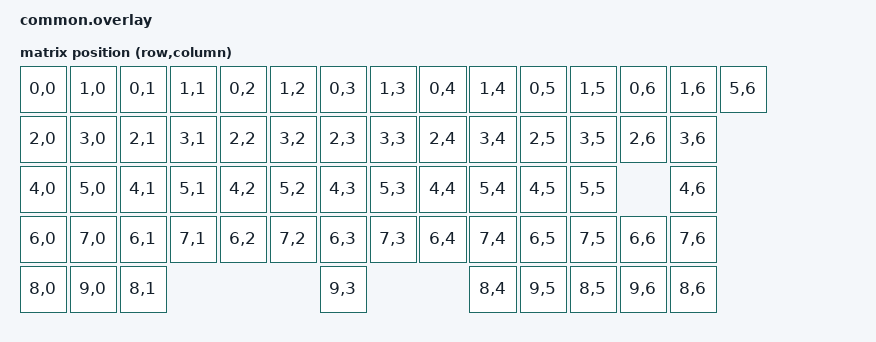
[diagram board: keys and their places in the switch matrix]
/ {

    matrix_transform_all: matrix_transform_all {
        compatible = "zmk,matrix-transform";
        columns = <7>;
        rows = <10>;
        map = <
            RC(0,0) RC(1,0) RC(0,1) RC(1,1) RC(0,2) RC(1,2) RC(0,3) RC(1,3) RC(0,4) RC(1,4) RC(0,5) RC(1,5) RC(0,6) RC(1,6) RC(5,6)
            RC(2,0) RC(3,0) RC(2,1) RC(3,1) RC(2,2) RC(3,2) RC(2,3) RC(3,3) RC(2,4) RC(3,4) RC(2,5) RC(3,5) RC(2,6) RC(3,6)
            RC(4,0) RC(5,0) RC(4,1) RC(5,1) RC(4,2) RC(5,2) RC(4,3) RC(5,3) RC(4,4) RC(5,4) RC(4,5) RC(5,5)         RC(4,6)
            RC(6,0) RC(7,0) RC(6,1) RC(7,1) RC(6,2) RC(7,2) RC(6,3) RC(7,3) RC(6,4) RC(7,4) RC(6,5) RC(7,5) RC(6,6) RC(7,6)
            RC(8,0) RC(9,0) RC(8,1)                         RC(9,3)                 RC(8,4) RC(9,5) RC(8,5) RC(9,6) RC(8,6)
        >;
    };

};

// Multi Layouts Defines
//                                           w   h    x    y     rot    rx    ry
#define ROW0_FIXED    <&key_physical_attrs 100 100    0    0       0     0     0> \
                    , <&key_physical_attrs 100 100  100    0       0     0     0> \
                    , <&key_physical_attrs 100 100  200    0       0     0     0> \
                    , <&key_physical_attrs 100 100  300    0       0     0     0> \
                    , <&key_physical_attrs 100 100  400    0       0     0     0> \
                    , <&key_physical_attrs 100 100  500    0       0     0     0> \
                    , <&key_physical_attrs 100 100  600    0       0     0     0> \
                    , <&key_physical_attrs 100 100  700    0       0     0     0> \
                    , <&key_physical_attrs 100 100  800    0       0     0     0> \
                    , <&key_physical_attrs 100 100  900    0       0     0     0> \
                    , <&key_physical_attrs 100 100 1000    0       0     0     0> \
                    , <&key_physical_attrs 100 100 1100    0       0     0     0> \
                    , <&key_physical_attrs 100 100 1200    0       0     0     0>

#define ROW0_BS_2U    <&key_physical_attrs 200 100 1300    0       0     0     0>

#define ROW0_BS_1U    <&key_physical_attrs 100 100 1300    0       0     0     0> \
                    , <&key_physical_attrs 100 100 1400    0       0     0     0>

#define ROW1_FIXED    <&key_physical_attrs 150 100    0  100       0     0     0> \
                    , <&key_physical_attrs 100 100  150  100       0     0     0> \
                    , <&key_physical_attrs 100 100  250  100       0     0     0> \
                    , <&key_physical_attrs 100 100  350  100       0     0     0> \
                    , <&key_physical_attrs 100 100  450  100       0     0     0> \
                    , <&key_physical_attrs 100 100  550  100       0     0     0> \
                    , <&key_physical_attrs 100 100  650  100       0     0     0> \
                    , <&key_physical_attrs 100 100  750  100       0     0     0> \
                    , <&key_physical_attrs 100 100  850  100       0     0     0> \
                    , <&key_physical_attrs 100 100  950  100       0     0     0> \
                    , <&key_physical_attrs 100 100 1050  100       0     0     0> \
                    , <&key_physical_attrs 100 100 1150  100       0     0     0> \
                    , <&key_physical_attrs 100 100 1250  100       0     0     0>

#define ROW1_ANSI     <&key_physical_attrs 150 100 1350  100       0     0     0>

#define ROW1_ISO      <&key_physical_attrs 125 200 1375  100       0     0     0>


#define ROW2_FIXED    <&key_physical_attrs 175 100    0  200       0     0     0> \
                    , <&key_physical_attrs 100 100  175  200       0     0     0> \
                    , <&key_physical_attrs 100 100  275  200       0     0     0> \
                    , <&key_physical_attrs 100 100  375  200       0     0     0> \
                    , <&key_physical_attrs 100 100  475  200       0     0     0> \
                    , <&key_physical_attrs 100 100  575  200       0     0     0> \
                    , <&key_physical_attrs 100 100  675  200       0     0     0> \
                    , <&key_physical_attrs 100 100  775  200       0     0     0> \
                    , <&key_physical_attrs 100 100  875  200       0     0     0> \
                    , <&key_physical_attrs 100 100  975  200       0     0     0> \
                    , <&key_physical_attrs 100 100 1075  200       0     0     0> \
                    , <&key_physical_attrs 100 100 1175  200       0     0     0>

#define ROW2_ANSI     <&key_physical_attrs 225 100 1275  200       0     0     0>

#define ROW2_ISO      <&key_physical_attrs 100 100 1275  200       0     0     0>

#define ROW3_ANSI     <&key_physical_attrs 225 100    0  300       0     0     0>

#define ROW3_ISO      <&key_physical_attrs 125 100    0  300       0     0     0> \
                    , <&key_physical_attrs 100 100  125  300       0     0     0>

#define ROW3_FIXED    <&key_physical_attrs 100 100  225  300       0     0     0> \
                    , <&key_physical_attrs 100 100  325  300       0     0     0> \
                    , <&key_physical_attrs 100 100  425  300       0     0     0> \
                    , <&key_physical_attrs 100 100  525  300       0     0     0> \
                    , <&key_physical_attrs 100 100  625  300       0     0     0> \
                    , <&key_physical_attrs 100 100  725  300       0     0     0> \
                    , <&key_physical_attrs 100 100  825  300       0     0     0> \
                    , <&key_physical_attrs 100 100  925  300       0     0     0> \
                    , <&key_physical_attrs 100 100 1025  300       0     0     0>

#define ROW3_RS_275U  <&key_physical_attrs 100 100 1125  300       0     0     0> \
                    , <&key_physical_attrs 275 100 1225  300       0     0     0>

#define ROW3_RS_175U  <&key_physical_attrs 100 100 1125  300       0     0     0> \
                    , <&key_physical_attrs 175 100 1225  300       0     0     0> \
                    , <&key_physical_attrs 100 100 1400  300       0     0     0>

#define ROW3_RS_ARROW <&key_physical_attrs 175 100 1125  300       0     0     0> \
                    , <&key_physical_attrs 100 100 1300  300       0     0     0> \
                    , <&key_physical_attrs 100 100 1400  300       0     0     0>


#define SPC_625U_ARROW <&key_physical_attrs 125 100    0  400       0     0     0> \
                    , <&key_physical_attrs 125 100  125  400       0     0     0> \
                    , <&key_physical_attrs 125 100  250  400       0     0     0> \
                    , <&key_physical_attrs 625 100  375  400       0     0     0> \
                    , <&key_physical_attrs 100 100 1000  400       0     0     0> \
                    , <&key_physical_attrs 100 100 1100  400       0     0     0> \
                    , <&key_physical_attrs 100 100 1200  400       0     0     0> \
                    , <&key_physical_attrs 100 100 1300  400       0     0     0> \
                    , <&key_physical_attrs 100 100 1400  400       0     0     0>

#define SPC_625U_UNI  <&key_physical_attrs 125 100    0  400       0     0     0> \
                    , <&key_physical_attrs 125 100  125  400       0     0     0> \
                    , <&key_physical_attrs 125 100  250  400       0     0     0> \
                    , <&key_physical_attrs 625 100  375  400       0     0     0> \
                    , <&key_physical_attrs 125 100 1000  400       0     0     0> \
                    , <&key_physical_attrs 125 100 1125  400       0     0     0> \
                    , <&key_physical_attrs 125 100 1250  400       0     0     0> \
                    , <&key_physical_attrs 125 100 1375  400       0     0     0>

#define SPC_625U_HHKB <&key_physical_attrs 100 100  150  400       0     0     0> \
                    , <&key_physical_attrs 125 100  250  400       0     0     0> \
                    , <&key_physical_attrs 625 100  375  400       0     0     0> \
                    , <&key_physical_attrs 125 100 1000  400       0     0     0> \
                    , <&key_physical_attrs 125 100 1125  400       0     0     0> \
                    , <&key_physical_attrs 100 100 1250  400       0     0     0>

#define SPC_7U        <&key_physical_attrs 150 100    0  400       0     0     0> \
                    , <&key_physical_attrs 100 100  150  400       0     0     0> \
                    , <&key_physical_attrs 150 100  250  400       0     0     0> \
                    , <&key_physical_attrs 700 100  400  400       0     0     0> \
                    , <&key_physical_attrs 150 100 1100  400       0     0     0> \
                    , <&key_physical_attrs 100 100 1250  400       0     0     0> \
                    , <&key_physical_attrs 150 100 1350  400       0     0     0>

#define SPC_7U_ARROW  <&key_physical_attrs 150 100    0  400       0     0     0> \
                    , <&key_physical_attrs 150 100  150  400       0     0     0> \
                    , <&key_physical_attrs 150 100  300  400       0     0     0> \
                    , <&key_physical_attrs 700 100  400  400       0     0     0> \
                    , <&key_physical_attrs 100 100 1100  400       0     0     0> \
                    , <&key_physical_attrs 100 100 1200  400       0     0     0> \
                    , <&key_physical_attrs 100 100 1300  400       0     0     0> \
                    , <&key_physical_attrs 100 100 1400  400       0     0     0>

#define SPC_7U_HHKB   <&key_physical_attrs 150 100  150  400       0     0     0> \
                    , <&key_physical_attrs 150 100  300  400       0     0     0> \
                    , <&key_physical_attrs 700 100  450  400       0     0     0> \
                    , <&key_physical_attrs 150 100 1150  400       0     0     0> \
                    , <&key_physical_attrs 100 100 1300  400       0     0     0>

#define SPC_10U       <&key_physical_attrs 150 100    0  400       0     0     0> \
                    , <&key_physical_attrs 100 100  150  400       0     0     0> \
                    , <&key_physical_attrs 1000 100 250  400       0     0     0> \
                    , <&key_physical_attrs 100 100 1250  400       0     0     0> \
                    , <&key_physical_attrs 150 100 1350  400       0     0     0>

#define SPC_10U_HHKB  <&key_physical_attrs 100 100  150  400       0     0     0> \
                    , <&key_physical_attrs 1000 100 250  400       0     0     0> \
                    , <&key_physical_attrs 100 100 1250  400       0     0     0>

// Base Layout with all keys in matrix.
/ {
    chosen {
        zmk,physical-layout = &layout_all;
    };

    layout_all: layout_all {
        compatible = "zmk,physical-layout";
        display-name = "ALL_KEYS";
        transform = <&matrix_transform_all>;

        keys =    ROW0_FIXED , ROW0_BS_1U
                , ROW1_FIXED , ROW1_ANSI
                , ROW2_FIXED , ROW2_ANSI
                , ROW3_ANSI  , ROW3_FIXED , ROW3_RS_ARROW
                , SPC_625U_ARROW;
    };
};
